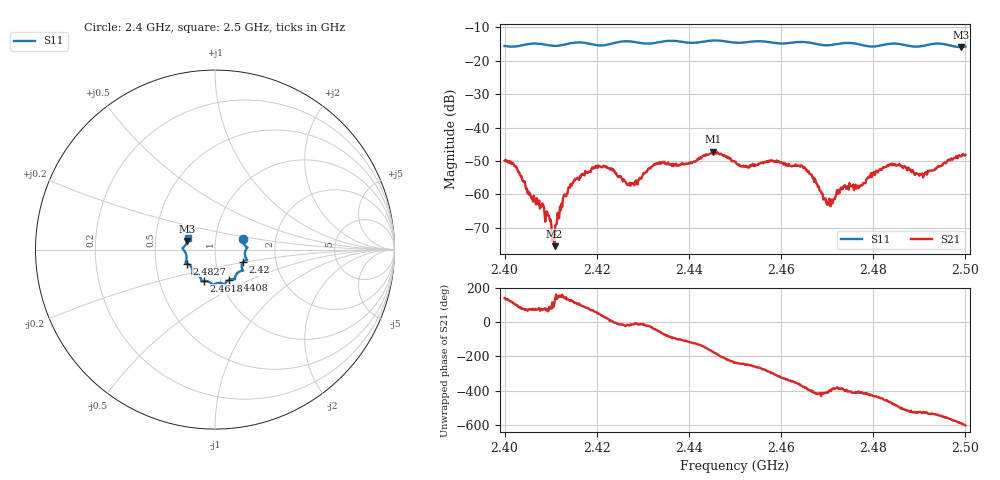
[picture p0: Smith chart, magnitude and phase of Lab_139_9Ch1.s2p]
# Hz S RI R 50
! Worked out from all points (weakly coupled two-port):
!   601 points, 2.4 GHz to 2.5 GHz, reference 50 ohm
!   highest |S21| = -47.24 dB at 2.4453 GHz (marker M1); lowest = -75.6 dB at 2.4108 GHz (marker M2)
!   lowest |S11| = -15.9 dB at 2.499 GHz (marker M3), VSWR 1.38, Z = 36.5 + j3.59 ohm
!   |S11| at or under -10 dB: start of sweep to end of sweep
!   S12 and S22 are empty: the file has one direction only
!   S11 on the Smith chart (normalised r, x): 2.4 GHz: 1.35, +0.17; 2.42 GHz: 1.36, -0.19; 2.4408 GHz: 1.10, -0.38; 2.4618 GHz: 0.84, -0.30; 2.4827 GHz: 0.72, -0.12; 2.5 GHz: 0.73, +0.09
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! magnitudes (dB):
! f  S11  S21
! 2.4 GHz  -15.6  -49.9
! 2.4023 GHz  -15.7  -51.8
! 2.4095 GHz  -15.3  -66.4
! 2.4108 GHz  -15.5  -75.6
! 2.4132 GHz  -15.1  -60.3
! 2.4167 GHz  -14.5  -54.0
! 2.42 GHz  -15.3  -51.7
! 2.427 GHz  -14.2  -57.1
! 2.4333 GHz  -14.5  -50.9
! 2.4408 GHz  -14.6  -50.4
! 2.4453 GHz  -13.9  -47.2
! 2.45 GHz  -14.6  -50.2
! 2.4618 GHz  -14.6  -51.3
! 2.4667 GHz  -14.7  -54.2
! 2.4703 GHz  -15.3  -62.0
! 2.4733 GHz  -14.7  -58.6
! 2.4772 GHz  -15.1  -57.4
! 2.4827 GHz  -15.1  -51.8
! 2.4833 GHz  -15.0  -51.5
! 2.4905 GHz  -15.6  -53.8
! 2.499 GHz  -15.9  -48.6
! 2.5 GHz  -15.7  -48.2
